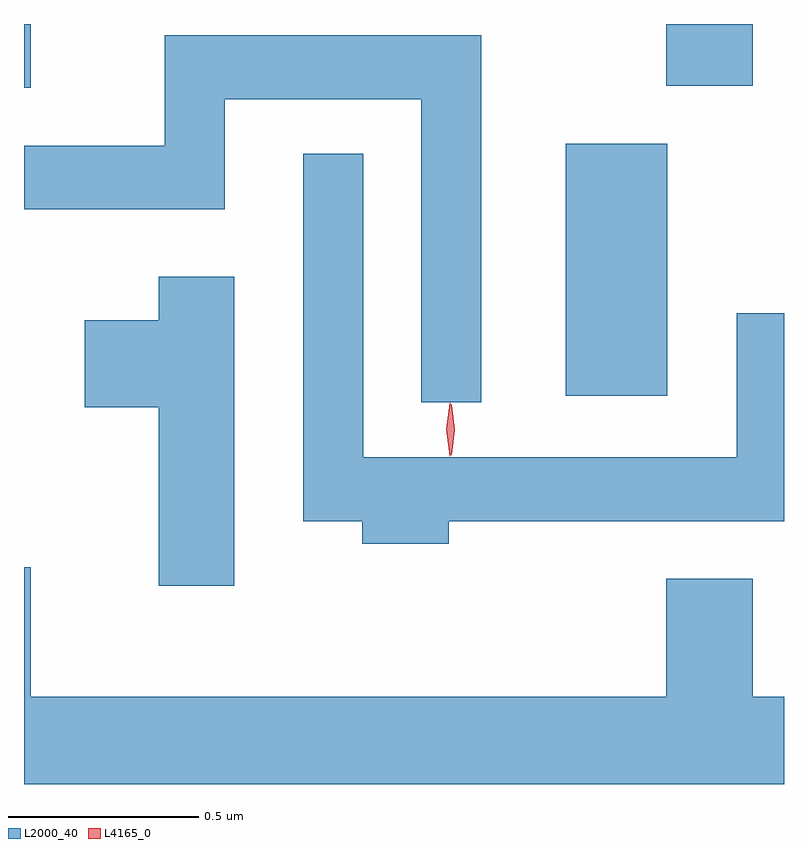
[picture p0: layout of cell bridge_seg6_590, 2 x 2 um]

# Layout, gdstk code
import gdstk
lib = gdstk.Library(unit=1e-6, precision=1e-09)
def R(c, l, rs):  # rectangles x0, y0, x1, y1
    for r in rs: c.add(gdstk.rectangle(r[:2], r[2:], *l))
def P(c, l, *ps):  # polygons
    for p in ps: c.add(gdstk.Polygon(p, *l))
L2000_40 = (2000, 40)
L4165_0 = (4165, 0)

bridge_seg6_590 = lib.new_cell('bridge_seg6_590')
R(bridge_seg6_590, L2000_40, [(451.316,1650.996,451.584,1651.659), (449.891,1651.806,449.909,1651.974), (451.581,1651.811,451.809,1651.974)])
P(bridge_seg6_590, L2000_40, [(451.094,1651.944),(450.261,1651.944),(450.261,1651.654),(449.891,1651.654),(449.891,1651.486),(450.419,1651.486),(450.419,1651.776),(450.936,1651.776),(450.936,1650.978),(451.094,1650.978)],
  [(451.009,1650.666),(451.891,1650.666),(451.891,1651.213),(451.766,1651.213),(451.766,1650.834),(450.784,1650.834),(450.784,1651.633),(450.626,1651.633),(450.626,1650.666),(450.781,1650.666),(450.781,1650.606),(451.009,1650.606)],
  [(450.444,1651.309),(450.246,1651.309),(450.246,1651.194),(450.051,1651.194),(450.051,1650.966),(450.246,1650.966),(450.246,1650.496),(450.444,1650.496)],
  [(451.891,1650.204),(451.809,1650.204),(451.809,1650.514),(451.581,1650.514),(451.581,1650.204),(449.909,1650.204),(449.909,1650.544),(449.891,1650.544),(449.891,1649.974),(451.891,1649.974)])
P(bridge_seg6_590, L4165_0, [(451.012,1650.837),(451.012,1650.838),(451.002,1650.907),(451.012,1650.976),(451.012,1650.976),(451.013,1650.976),(451.022,1650.907),(451.013,1650.838)],
  [(451.015,1650.839),(451.015,1650.84),(451.005,1650.906),(451.014,1650.972),(451.015,1650.973),(451.016,1650.972),(451.025,1650.906),(451.016,1650.84)])

lib.write_gds('bridge_seg6_590.gds')
